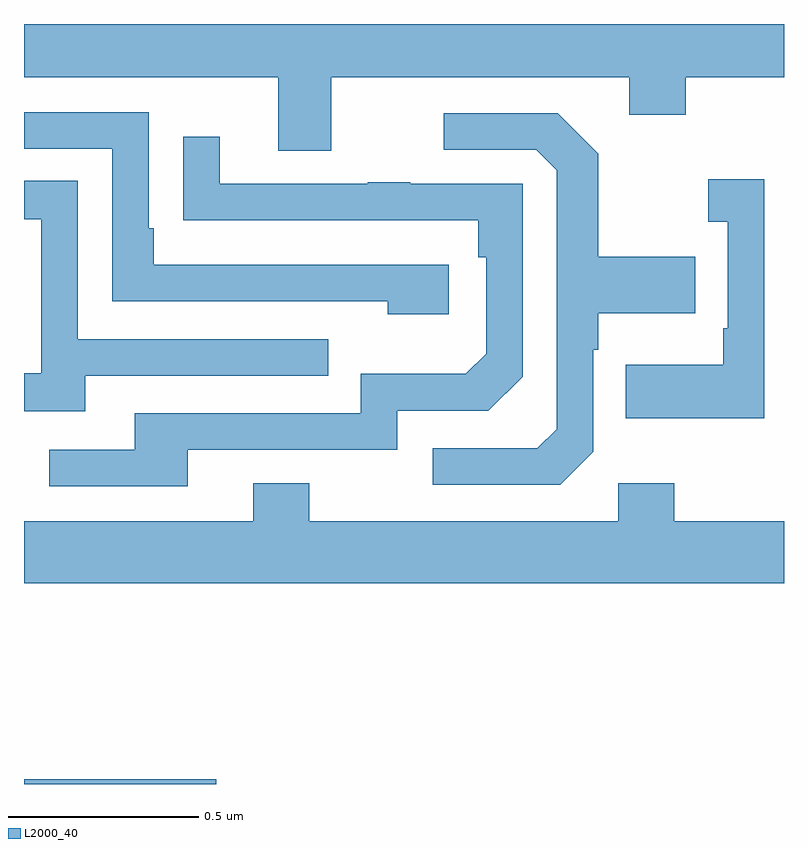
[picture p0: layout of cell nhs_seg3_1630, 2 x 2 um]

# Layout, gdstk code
import gdstk
lib = gdstk.Library(unit=1e-6, precision=1e-09)
def R(c, l, rs):  # rectangles x0, y0, x1, y1
    for r in rs: c.add(gdstk.rectangle(r[:2], r[2:], *l))
def P(c, l, *ps):  # polygons
    for p in ps: c.add(gdstk.Polygon(p, *l))
L2000_40 = (2000, 40)

nhs_seg3_1630 = lib.new_cell('nhs_seg3_1630')
R(nhs_seg3_1630, L2000_40, [(131,688.4,131.506,688.412)])
P(nhs_seg3_1630, L2000_40, [(131.809,690.26),(132.593,690.26),(132.593,690.161),(132.741,690.161),(132.741,690.26),(133,690.26),(133,690.4),(131,690.4),(131,690.26),(131.669,690.26),(131.669,690.066),(131.809,690.066)],
  [(132.118,689.766),(131.341,689.766),(131.341,689.863),(131.328,689.863),(131.328,690.168),(131,690.168),(131,690.072),(131.232,690.072),(131.232,689.67),(131.957,689.67),(131.957,689.636),(132.118,689.636)],
  [(132.498,689.274),(132.498,689.543),(132.511,689.543),(132.511,689.639),(132.767,689.639),(132.767,689.787),(132.511,689.787),(132.511,690.059),(132.405,690.165),(132.105,690.165),(132.105,690.069),(132.348,690.069),(132.402,690.015),(132.402,689.334),(132.351,689.283),(132.075,689.283),(132.075,689.187),(132.411,689.187)],
  [(131.431,689.28),(131.982,689.28),(131.982,689.382),(132.222,689.382),(132.312,689.472),(132.312,689.979),(132.017,689.979),(132.017,689.984),(131.905,689.984),(131.905,689.979),(131.515,689.979),(131.515,690.103),(131.419,690.103),(131.419,689.884),(131.521,689.884),(131.521,689.883),(132.196,689.883),(132.196,689.786),(132.216,689.786),(132.216,689.532),(132.163,689.479),(131.886,689.479),(131.886,689.376),(131.291,689.376),(131.291,689.28),(131.067,689.28),(131.067,689.184),(131.431,689.184)],
  [(132.948,689.992),(132.801,689.992),(132.801,689.879),(132.852,689.879),(132.852,689.599),(132.84,689.599),(132.84,689.503),(132.583,689.503),(132.583,689.363),(132.948,689.363)],
  [(131.161,689.475),(131.801,689.475),(131.801,689.571),(131.142,689.571),(131.142,689.987),(131,689.987),(131,689.886),(131.046,689.886),(131.046,689.481),(131,689.481),(131,689.381),(131.161,689.381)],
  [(133,689.092),(132.711,689.092),(132.711,689.191),(132.564,689.191),(132.564,689.092),(131.751,689.092),(131.751,689.191),(131.603,689.191),(131.603,689.092),(131,689.092),(131,688.928),(133,688.928)])

lib.write_gds('nhs_seg3_1630.gds')
